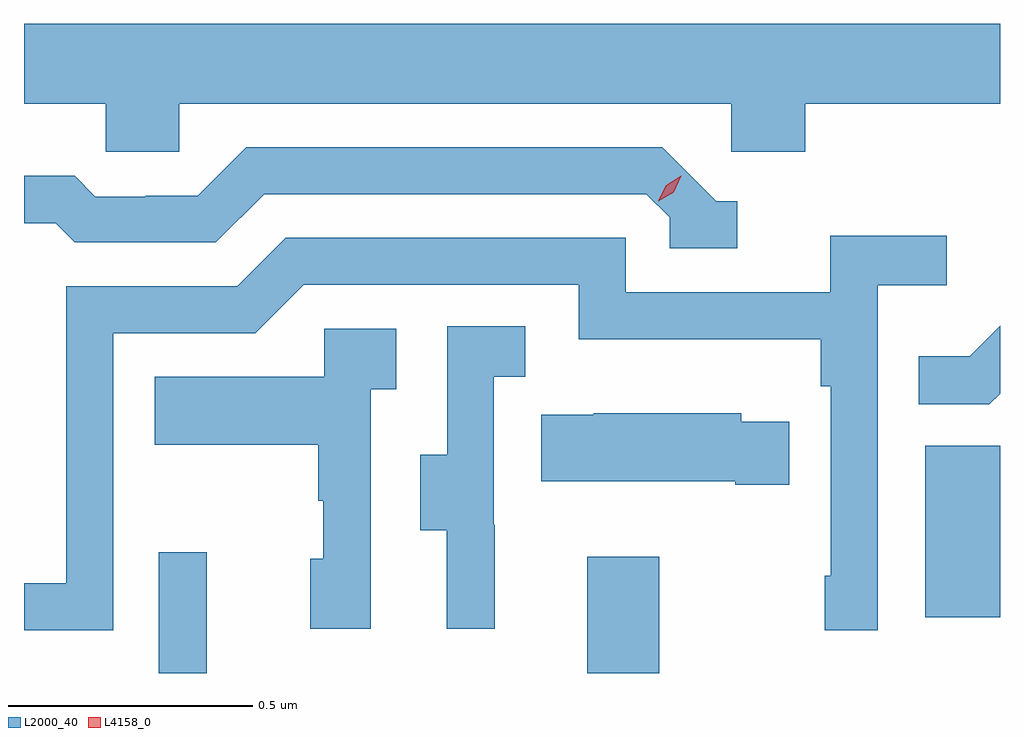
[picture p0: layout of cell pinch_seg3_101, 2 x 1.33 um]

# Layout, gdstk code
import gdstk
lib = gdstk.Library(unit=1e-6, precision=1e-09)
def R(c, l, rs):  # rectangles x0, y0, x1, y1
    for r in rs: c.add(gdstk.rectangle(r[:2], r[2:], *l))
def P(c, l, *ps):  # polygons
    for p in ps: c.add(gdstk.Polygon(p, *l))
L2000_40 = (2000, 40)
L4158_0 = (4158, 0)

pinch_seg3_101 = lib.new_cell('pinch_seg3_101')
R(pinch_seg3_101, L2000_40, [(1061.541,718.397,1061.639,718.645), (1062.419,718.397,1062.567,718.636), (1063.112,718.512,1063.265,718.863)])
P(pinch_seg3_101, L2000_40, [(1061.583,719.564),(1062.714,719.564),(1062.714,719.466),(1062.866,719.466),(1062.866,719.564),(1063.265,719.564),(1063.265,719.728),(1061.265,719.728),(1061.265,719.564),(1061.433,719.564),(1061.433,719.466),(1061.583,719.466)],
  [(1062.727,719.364),(1062.684,719.364),(1062.573,719.475),(1061.72,719.475),(1061.621,719.376),(1061.514,719.376),(1061.514,719.373),(1061.411,719.373),(1061.369,719.416),(1061.265,719.416),(1061.265,719.319),(1061.33,719.319),(1061.369,719.28),(1061.658,719.28),(1061.757,719.379),(1062.54,719.379),(1062.588,719.331),(1062.588,719.268),(1062.727,719.268)],
  [(1061.448,719.094),(1061.739,719.094),(1061.838,719.193),(1062.402,719.193),(1062.402,719.081),(1062.898,719.081),(1062.898,718.985),(1062.918,718.985),(1062.918,718.597),(1062.906,718.597),(1062.906,718.485),(1063.014,718.485),(1063.014,719.192),(1063.156,719.192),(1063.156,719.294),(1062.917,719.294),(1062.917,719.178),(1062.498,719.178),(1062.498,719.289),(1061.801,719.289),(1061.702,719.19),(1061.352,719.19),(1061.352,718.581),(1061.265,718.581),(1061.265,718.485),(1061.448,718.485)],
  [(1063.265,718.97),(1063.265,719.109),(1063.203,719.047),(1063.099,719.047),(1063.099,718.948),(1063.243,718.948)],
  [(1062.23,718.701),(1062.228,718.701),(1062.228,719.005),(1062.292,719.005),(1062.292,719.108),(1062.132,719.108),(1062.132,718.845),(1062.077,718.845),(1062.077,718.69),(1062.131,718.69),(1062.131,718.488),(1062.23,718.488)],
  [(1061.976,718.979),(1062.028,718.979),(1062.028,719.103),(1061.88,719.103),(1061.88,719.005),(1061.533,719.005),(1061.533,718.865),(1061.868,718.865),(1061.868,718.751),(1061.878,718.751),(1061.878,718.632),(1061.852,718.632),(1061.852,718.488),(1061.976,718.488)],
  [(1062.833,718.912),(1062.735,718.912),(1062.735,718.93),(1062.433,718.93),(1062.433,718.927),(1062.325,718.927),(1062.325,718.79),(1062.722,718.79),(1062.722,718.783),(1062.833,718.783)])
P(pinch_seg3_101, L4158_0, [(1062.565,719.364),(1062.565,719.365),(1062.581,719.397),(1062.612,719.416),(1062.612,719.416),(1062.612,719.416),(1062.596,719.383),(1062.565,719.364)])

lib.write_gds('pinch_seg3_101.gds')
